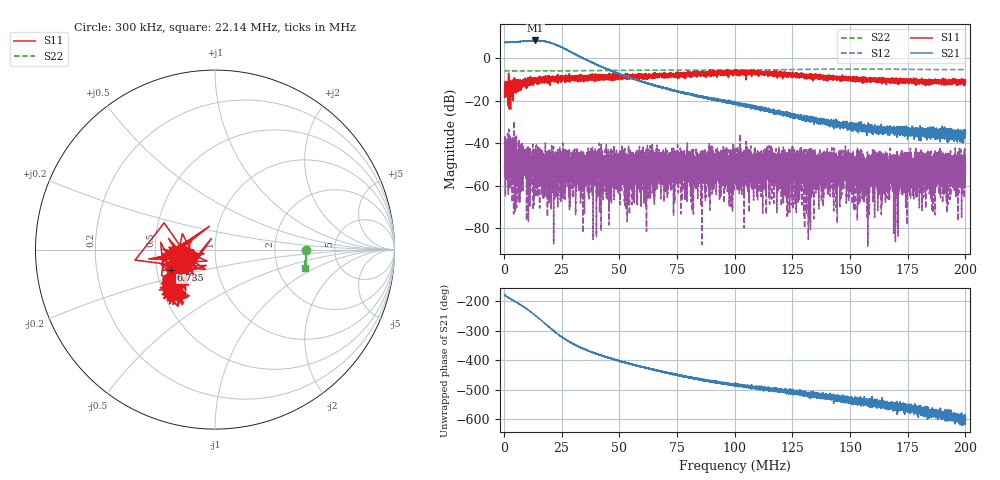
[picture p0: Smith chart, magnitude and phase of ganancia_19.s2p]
# Hz S DB R 50
! CMT, M5065, 19127446, 24.2.4/2
! Date: 11/8/2024 4:59:11 PM
! Data: Format (Calibration Info)
! Freq	S11:dB/Ang(F2)	S21:dB/Ang(F2)	S12:dB/Ang(F2)	S22:dB/Ang(F2)
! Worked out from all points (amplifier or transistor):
!   9000 points, 300 kHz to 200 MHz, reference 50 ohm
!   highest |S21| = 8.5 dB at 13.66 MHz (marker M1)
!   |S21| within 3 dB of that: start of sweep to 24.59 MHz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
!   unconditionally stable (mu >= 1): start of sweep to end of sweep
!   at 33.59 MHz: K = 123.63, MAG = 2.6 dB, |S12| = -52.6 dB
!   at 100.2 MHz: K = 693.25, MAG = -18.5 dB, |S12| = -46.7 dB
!   at 200 MHz: K = 5059.21, MAG = -33.2 dB, |S12| = -48.8 dB
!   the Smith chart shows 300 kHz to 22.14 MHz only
!   S11 on the Smith chart (normalised r, x): 300 kHz: 0.79, -0.06; 6.735 MHz: 0.59, -0.15; 22.14 MHz: 0.57, -0.32
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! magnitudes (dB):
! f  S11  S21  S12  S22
! 300 kHz  -18.3  7.5  -56.0  -5.9
! 1.676 MHz  -12.9  7.6  -49.2  -5.9
! 6.735 MHz  -11.4  7.9  -44.3  -5.9
! 13.66 MHz  -9.4  8.5  -58.5  -5.9
! 22.14 MHz  -9.4  6.6  -55.6  -5.8
! 33.59 MHz  -8.1  0.5  -52.6  -5.7
! 37.45 MHz  -9.2  -1.5  -54.1  -5.7
! 45.77 MHz  -8.7  -5.5  -52.2  -5.7
! 66.87 MHz  -8.6  -13.3  -45.4  -5.5
! 100.2 MHz  -7.3  -20.8  -46.7  -5.4
! 133.4 MHz  -7.9  -28.6  -48.2  -5.2
! 145 MHz  -8.6  -31.3  -50.5  -5.1
! 147.8 MHz  -10.1  -31.6  -53.2  -5.1
! 156.9 MHz  -9.6  -32.9  -58.5  -5.1
! 159.1 MHz  -9.9  -33.9  -49.8  -5.1
! 164.4 MHz  -11.2  -34.4  -45.1  -5.1
! 166.7 MHz  -9.9  -32.7  -54.2  -5.1
! 184.5 MHz  -10.6  -34.2  -59.2  -5.2
! 185.9 MHz  -10.7  -35.5  -52.3  -5.2
! 187.9 MHz  -11.2  -37.6  -53.8  -5.2
! 189.9 MHz  -10.4  -35.5  -53.5  -5.2
! 200 MHz  -10.8  -35.1  -48.8  -5.3
